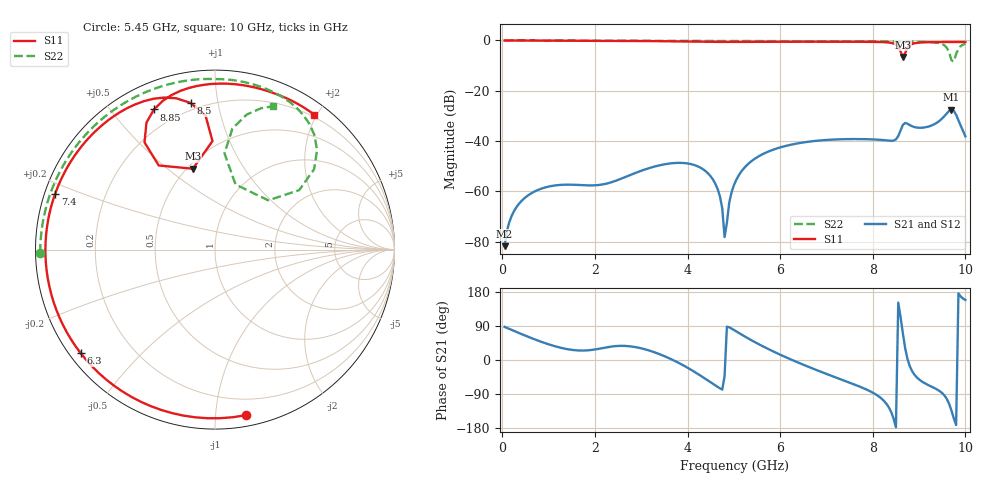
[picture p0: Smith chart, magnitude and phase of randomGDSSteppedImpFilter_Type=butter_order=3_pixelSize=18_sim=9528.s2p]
! freq	dB(S11)	phase(S11)	dB(S12)	phase(S12)
!  dB(S21)	phase(S21)	dB(S22)	phase(S22)
!S-par simulation data
#  GHz  S  DB  R 50
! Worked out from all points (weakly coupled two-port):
!   200 points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, 50 MHz to 10 GHz, reference 50 ohm
!   highest |S21| = -27.47 dB at 9.7 GHz (marker M1); lowest = -81.8 dB at 50 MHz (marker M2)
!   lowest |S11| = -6.6 dB at 8.65 GHz (marker M3), VSWR 2.75, Z = 26.7 + j30.8 ohm
!   |S11| at or under -10 dB: nowhere
!   |S22| runs from -8.4 to 0.0 dB; largest |S21 - S12| = 0
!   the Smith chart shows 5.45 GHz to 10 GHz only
!   S11 on the Smith chart (normalised r, x): 5.45 GHz: 0.08, -1.20; 6.3 GHz: 0.03, -0.34; 7.4 GHz: 0.03, +0.17; 8.5 GHz: 0.16, +0.83; 8.85 GHz: 0.11, +0.65; 10 GHz: 0.17, +1.97
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0.05  -0.00 -3.3  -81.80 87.4  -81.80 87.4  -0.00 -2.0
0.55  -0.05 -36.1  -61.69 61.6  -61.69 61.6  -0.03 -22.1
1.75  -0.13 -109.7  -57.56 24.9  -57.56 24.9  -0.08 -67.7
2.65  -0.19 -163.0  -54.35 37.2  -54.35 37.2  -0.11 -98.4
3.4  -0.29 145.3  -49.63 15.2  -49.63 15.2  -0.14 -121.7
4  -0.43 89.9  -48.91 -20.4  -48.91 -20.4  -0.16 -139.2
4.45  -0.55 36.8  -52.99 -54.8  -52.99 -54.8  -0.18 -151.8
4.7  -0.59 4.9  -62.03 -74.8  -62.03 -74.8  -0.20 -158.7
4.8  -0.59 -7.8  -78.17 -42.5  -78.17 -42.5  -0.20 -161.4
5.05  -0.59 -37.9  -55.51 75.6  -55.51 75.6  -0.21 -168.2
5.45  -0.55 -79.3  -47.07 47.4  -47.07 47.4  -0.23 -179.0
6.3  -0.49 -142.3  -41.20 -2.2  -41.20 -2.2  -0.28 158.1
6.7  -0.49 -164.7  -40.06 -22.4  -40.06 -22.4  -0.30 147.1
7.4  -0.51 160.7  -39.25 -55.1  -39.25 -55.1  -0.34 127.4
8.35  -0.84 112.3  -39.85 -125.7  -39.85 -125.7  -0.41 98.7
8.5  -1.63 99.5  -39.32 -177.7  -39.32 -177.7  -0.42 93.8
8.65  -6.61 105.3  -33.58 70.3  -33.58 70.3  -0.44 88.9
8.85  -1.40 113.5  -34.12 -29.5  -34.12 -29.5  -0.46 81.9
9.55  -0.63 73.9  -30.03 -93.9  -30.03 -93.9  -2.00 44.3
9.7  -0.62 67.1  -27.47 -133.7  -27.47 -133.7  -7.88 42.9
9.8  -0.60 62.6  -29.57 -171.5  -29.57 -171.5  -5.38 84.4
10  -0.60 53.6  -38.14 158.6  -38.14 158.6  -1.30 68.0
